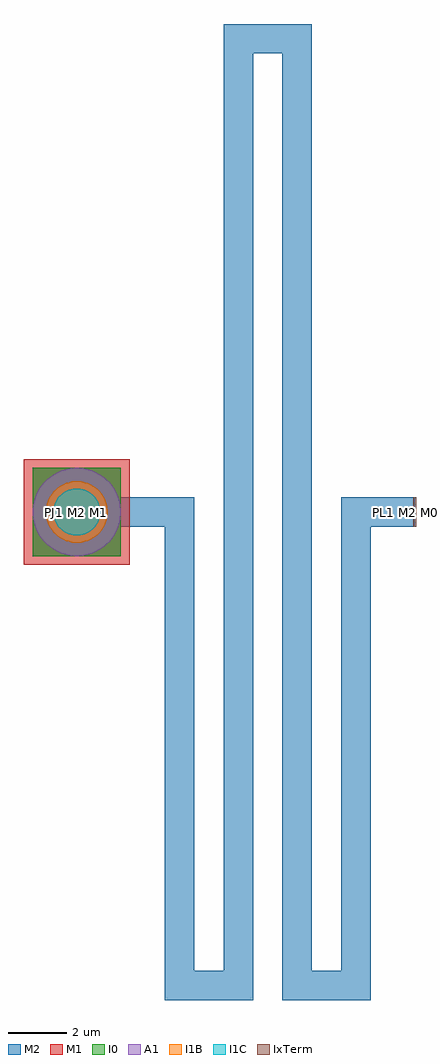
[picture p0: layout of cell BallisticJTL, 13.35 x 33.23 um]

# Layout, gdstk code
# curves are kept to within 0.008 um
from math import pi, radians
import gdstk
lib = gdstk.Library(unit=1e-6, precision=1e-09)
def R(c, l, rs):  # rectangles x0, y0, x1, y1
    for r in rs: c.add(gdstk.rectangle(r[:2], r[2:], *l))
def P(c, l, *ps):  # polygons
    for p in ps: c.add(gdstk.Polygon(p, *l))
M1 = (1, 0)
I1B = (3, 0)
I1C = (4, 0)
A1 = (5, 0)
M2 = (6, 0)
I0 = (31, 0)
IxTerm = (63, 0)

circle_3 = lib.new_cell('CIRCLE$3')
P(circle_3, I1C, [(-0.039,-0.8),(-0.195,-0.777),(-0.342,-0.724),(-0.477,-0.643),(-0.593,-0.538),(-0.687,-0.412),(-0.754,-0.27),(-0.792,-0.118),(-0.8,0.039),(-0.777,0.195),(-0.724,0.342),(-0.643,0.477),(-0.538,0.593),(-0.412,0.687),(-0.27,0.754),(-0.118,0.792),(0.039,0.8),(0.195,0.777),(0.342,0.724),(0.477,0.643),(0.593,0.538),(0.687,0.412),(0.754,0.27),(0.792,0.118),(0.8,-0.039),(0.777,-0.195),(0.724,-0.342),(0.643,-0.477),(0.538,-0.593),(0.412,-0.687),(0.27,-0.754),(0.118,-0.792)])

circle = lib.new_cell('CIRCLE')
P(circle, I1B, [(-0.052,-1.05),(-0.255,-1.02),(-0.449,-0.95),(-0.626,-0.844),(-0.779,-0.706),(-0.902,-0.54),(-0.99,-0.354),(-1.04,-0.154),(-1.05,0.052),(-1.02,0.255),(-0.95,0.449),(-0.844,0.626),(-0.706,0.779),(-0.54,0.902),(-0.354,0.99),(-0.154,1.04),(0.052,1.05),(0.255,1.02),(0.449,0.95),(0.626,0.844),(0.779,0.706),(0.902,0.54),(0.99,0.354),(1.04,0.154),(1.05,-0.052),(1.02,-0.255),(0.95,-0.449),(0.844,-0.626),(0.706,-0.779),(0.54,-0.902),(0.354,-0.99),(0.154,-1.04)])

circle_2 = lib.new_cell('CIRCLE$2')
P(circle_2, A1, [(-0.074,-1.5),(-0.365,-1.457),(-0.642,-1.358),(-0.895,-1.206),(-1.113,-1.009),(-1.288,-0.772),(-1.414,-0.506),(-1.486,-0.22),(-1.5,0.074),(-1.457,0.365),(-1.358,0.642),(-1.206,0.895),(-1.009,1.113),(-0.772,1.288),(-0.506,1.414),(-0.22,1.486),(0.074,1.5),(0.365,1.457),(0.642,1.358),(0.895,1.206),(1.113,1.009),(1.288,0.772),(1.414,0.506),(1.486,0.22),(1.5,-0.074),(1.457,-0.365),(1.358,-0.642),(1.206,-0.895),(1.009,-1.113),(0.772,-1.288),(0.506,-1.414),(0.22,-1.486)])

ballisticj = lib.new_cell('BallisticJ')
R(ballisticj, M1, [(-1.8,-1.8,1.8,1.8)])
R(ballisticj, M2, [(-1.5,-1.5,1.5,1.5)])
ballisticj.add(gdstk.Reference(circle_3, (0,0)))
ballisticj.add(gdstk.Reference(circle, (0,0)))
ballisticj.add(gdstk.Reference(circle_2, (0,0)))

meanderinductor_16 = lib.new_cell('MeanderInductor$16')
meanderinductor_16.add(gdstk.FlexPath([(-5,0),(-3,0),(-3,16.115),(-1,16.115),(-1,-16.115),(1,-16.115),(1,16.115),(3,16.115),(3,0),(5,0)], 1, ends="flush", simple_path=True, layer=6, datatype=0))  # M2

ballisticjtl = lib.new_cell('BallisticJTL')
R(ballisticjtl, I0, [(-1.5,-1.5,1.5,1.5)])
ballisticjtl.add(gdstk.FlexPath([(11.5,0.5),(11.5,-0.5)], 0.1, ends="flush", simple_path=True, layer=63, datatype=0))  # IxTerm
ballisticjtl.add(gdstk.Reference(ballisticj, (0,0)))
ballisticjtl.add(gdstk.Reference(meanderinductor_16, (6.5,0), rotation=pi))
ballisticjtl.add(gdstk.Label('PL1 M2 M0', (11.5,0), layer=64, texttype=0))
ballisticjtl.add(gdstk.Label('PJ1 M2 M1', (0,0), layer=64, texttype=0))

lib.write_gds('BallisticJTL.gds')
